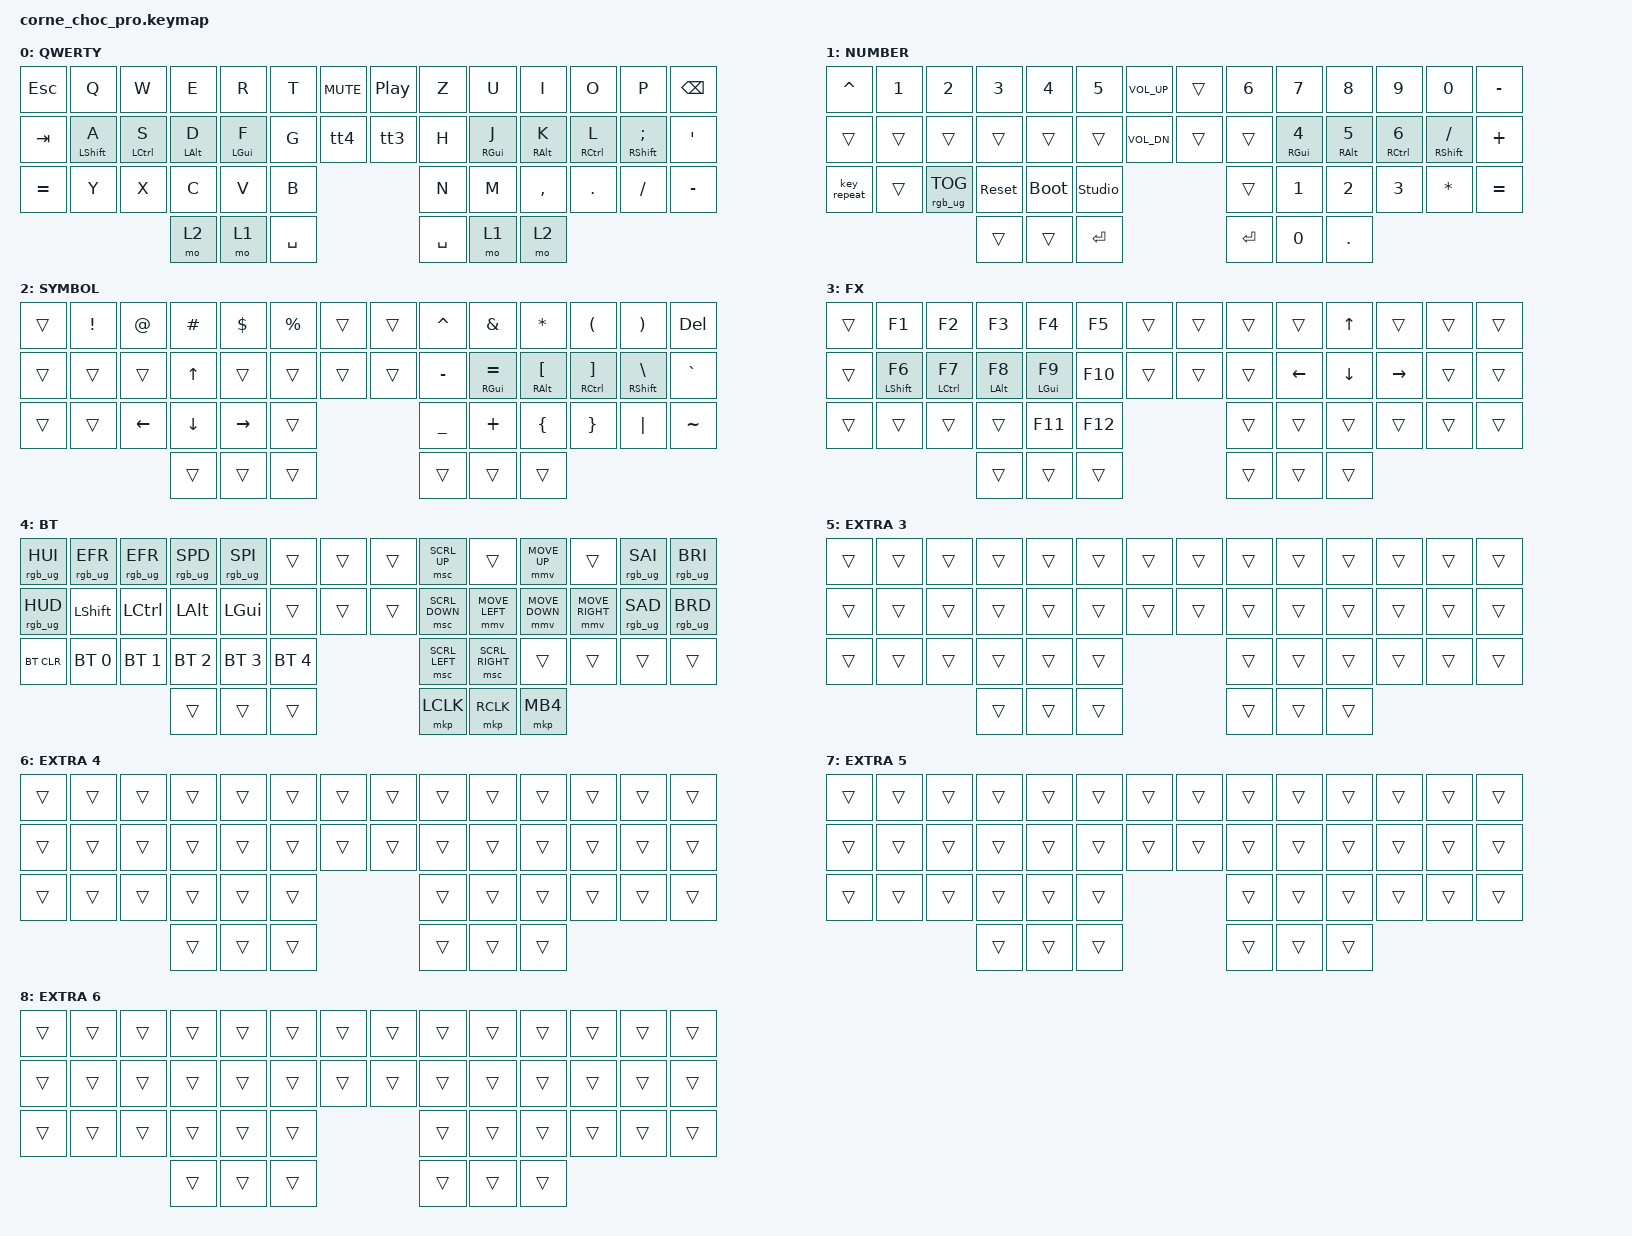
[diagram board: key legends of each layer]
/*
 * Copyright (c) 2020 The ZMK Contributors
 *
 * SPDX-License-Identifier: MIT
 */

#include <behaviors.dtsi>
#include <dt-bindings/zmk/bt.h>
#include <dt-bindings/zmk/keys.h>
#include <dt-bindings/zmk/pointing.h>
#include <dt-bindings/zmk/rgb.h>

/ {
    chosen { zmk,physical-layout = &default_layout; };
};

/ {
    macros {
        mae: mae {
            compatible = "zmk,behavior-macro";
            #binding-cells = <0>;
            bindings = <&kp LS(SINGLE_QUOTE) &kp A>;
            label = "MAE";
        };

        moe: moe {
            compatible = "zmk,behavior-macro";
            #binding-cells = <0>;
            bindings = <&kp LS(SINGLE_QUOTE) &kp O>;
            label = "MOE";
        };

        mue: mue {
            compatible = "zmk,behavior-macro";
            #binding-cells = <0>;
            bindings = <&kp LS(SINGLE_QUOTE) &kp U>;
            label = "MUE";
        };

        mae_s: mae_s {
            compatible = "zmk,behavior-macro";
            #binding-cells = <0>;
            bindings = <&kp LS(SINGLE_QUOTE) &kp LS(A)>;
            label = "MAES";
        };

        mue_s: mue_s {
            compatible = "zmk,behavior-macro";
            #binding-cells = <0>;
            bindings = <&kp LS(SINGLE_QUOTE) &kp LS(U)>;
            label = "MUES";
        };

        moe_s: moe_s {
            compatible = "zmk,behavior-macro";
            #binding-cells = <0>;
            bindings = <&kp LS(SINGLE_QUOTE) &kp LS(O)>;
            label = "MOES";
        };

        mflorian: florian {
            compatible = "zmk,behavior-macro";
            #binding-cells = <0>;
            bindings = <&kp LS(F) &kp L &kp O &kp R &kp I &kp A &kp N>;
            label = "FLORIAN";
        };

        mmfg: mfg {
            compatible = "zmk,behavior-macro";
            #binding-cells = <0>;
            bindings = <&kp LS(M) &kp I &kp T &kp SPACE &kp F &kp R &kp E &kp U &kp N &kp D &kp L &kp I &kp C &kp H &kp E &kp N &kp SPACE &kp LS(G) &kp R &kp DOUBLE_QUOTES &kp U &kp RA(S) &kp E &kp N &kp RET &kp SPACE &kp SPACE &kp SPACE &kp LS(F) &kp L &kp O &kp R &kp I &kp A &kp N &kp SPACE &kp LS(L) &kp I &kp M &kp B &kp U &kp R &kp G>;
            label = "MFG";
        };

        mlimburg: limburg {
            compatible = "zmk,behavior-macro";
            #binding-cells = <0>;
            bindings = <&kp LS(L) &kp I &kp M &kp B &kp U &kp R &kp G>;
            label = "LIMBURG";
        };
    };

    behaviors {
        mtl: mtl {
            compatible = "zmk,behavior-hold-tap";
            label = "MTL";
            bindings = <&kp>, <&kp>;

            #binding-cells = <2>;
            hold-trigger-key-positions = <0 1 2 3 4 5 19 18 17 16 15 14 28 29 30 31 32 33 42>;
            hold-trigger-on-release;
            require-prior-idle-ms = <150>;
            tapping-term-ms = <280>;
            quick-tap-ms = <175>;
            flavor = "balanced";
        };

        mtr: mtr {
            compatible = "zmk,behavior-hold-tap";
            label = "MTR";
            bindings = <&kp>, <&kp>;

            #binding-cells = <2>;
            hold-trigger-on-release;
            require-prior-idle-ms = <150>;
            tapping-term-ms = <280>;
            hold-trigger-key-positions = <9 8 10 11 12 13 27 39 38 37 36 35 34 22 23 24 25 26 43>;
            flavor = "balanced";
            quick-tap-ms = <175>;
        };

        tt4: tt4 {
            compatible = "zmk,behavior-tap-dance";
            label = "TT4";
            #binding-cells = <0>;
            bindings = <&mo 4>, <&tog 4>;

            tapping-term-ms = <150>;
        };

        tt3: tt3 {
            compatible = "zmk,behavior-tap-dance";
            label = "TT3";
            #binding-cells = <0>;
            bindings = <&mo 3>, <&tog 3>;
        };

        tt2: tt2 {
            compatible = "zmk,behavior-tap-dance";
            label = "TT2";
            #binding-cells = <0>;
            bindings = <&mo 2>, <&tog 2>;

            tapping-term-ms = <100>;
        };

        tt1: tt1 {
            compatible = "zmk,behavior-tap-dance";
            label = "TT1";
            #binding-cells = <0>;
            bindings = <&mo 1>, <&tog 1>;

            tapping-term-ms = <100>;
        };
    };

    combos {
        compatible = "zmk,combos";

        cae {
            bindings = <&mae>;
            key-positions = <15 3>;
        };

        cue_s {
            bindings = <&mue_s>;
            key-positions = <3 9 26>;
        };

        cae_s {
            bindings = <&mae_s>;
            key-positions = <15 3 26>;
        };

        cue {
            bindings = <&mue>;
            key-positions = <3 9>;
        };

        coe {
            bindings = <&moe>;
            key-positions = <3 11>;
        };

        coe_s {
            bindings = <&moe_s>;
            key-positions = <3 26 11>;
        };

        space2enter {
            bindings = <&kp ENTER>;
            key-positions = <42 43>;
        };

        cmfg {
            bindings = <&mmfg>;
            key-positions = <18 19 35>;
        };

        cflorian {
            bindings = <&mflorian>;
            key-positions = <18 44 45>;
        };

        climburg {
            bindings = <&mlimburg>;
            key-positions = <25 40 41>;
        };
    };

    keymap {
        compatible = "zmk,keymap";

        default_layer {
            display-name = "QWERTY";

            // --------------------------------------------------------------------------------
            // |  TAB |  Q  |  W  |  E  |  R  |  T  |  MUTE |  PP   |  Y  |  U   |  I  |  O  |  P  | BSPC |
            // | CTRL |  A  |  S  |  D  |  F  |  G  |  LALT |  RALT |  H  |  J   |  K  |  L  |  ;  |  '   |
            // | SHFT |  Z  |  X  |  C  |  V  |  B  |               |  N  |  M   |  ,  |  .  |  /  | ESC  |
            //                    | GUI | LWR | SPC |               | ENT | RSE  | ALT |

            bindings = <
&kp ESC    &kp Q              &kp W                &kp E            &kp R            &kp T      &kp C_MUTE  &kp C_PLAY_PAUSE  &kp Z      &kp U             &kp I             &kp O                 &kp P             &kp BSPC
&kp TAB    &mtl LEFT_SHIFT A  &mtl LEFT_CONTROL S  &mtl LEFT_ALT D  &mtl LEFT_GUI F  &kp G      &tt4        &tt3              &kp H      &mtr RIGHT_GUI J  &mtr RIGHT_ALT K  &mtr RIGHT_CONTROL L  &mtr RSHIFT SEMI  &kp SQT
&kp EQUAL  &kp Y              &kp X                &kp C            &kp V            &kp B                                    &kp N      &kp M             &kp COMMA         &kp DOT               &kp FSLH          &kp MINUS
                                                   &mo 2            &mo 1            &kp SPACE                                &kp SPACE  &mo 1             &mo 2
            >;
        };

        lower_layer {
            display-name = "NUMBER";

            // -----------------------------------------------------------------------------------------
            // |  TAB |  1  |  2  |  3  |  4  |  5    |  LCTRL | RCTRL |  6  |  7  |  8  |  9  |  0  | BSPC |
            // | CTRL | BT1 | BT2 | BT3 | BT4 | BT5   |  LALT  | RALT  | LFT | DWN |  UP | RGT |     |      |
            // | SHFT | BTCR| RGB | RST | BOOT| Unlock|        |       |     |     |     |     |     |      |
            //                    | GUI |     | SPC   |        | ENT   |     | ALT |

            bindings = <
&kp CARET    &kp N1  &kp N2           &kp N3      &kp N4       &kp N5          &kp C_VOLUME_UP  &trans  &kp N6     &kp N7                   &kp N8             &kp N9                       &kp N0             &kp MINUS
&trans       &trans  &trans           &trans      &trans       &trans          &kp C_VOL_DN     &trans  &trans     &mtr RIGHT_GUI NUMBER_4  &mtr RIGHT_ALT N5  &mtr RIGHT_CONTROL NUMBER_6  &mtr RSHIFT SLASH  &kp PLUS
&key_repeat  &trans  &rgb_ug RGB_TOG  &sys_reset  &bootloader  &studio_unlock                           &trans     &kp NUMBER_1             &kp NUMBER_2       &kp NUMBER_3                 &kp STAR           &kp EQUAL
                                      &trans      &trans       &kp ENTER                                &kp ENTER  &kp NUMBER_0             &kp DOT
            >;
        };

        raise_layer {
            display-name = "SYMBOL";

            // -----------------------------------------------------------------------------------------
            // |  TAB |  !  |  @  |  #  |  $  |  %  | LCTRL | RCTRL |  ^  |  &  |  *  |  (  |  )  | BSPC |
            // | CTRL |     |     |     |     |     |  LALT | RALT  |  -  |  =  |  [  |  ]  |  \  |  `   |
            // | SHFT |     |     |     |     |     |               |  _  |  +  |  {  |  }  | "|" |  ~   |
            //                    | GUI |     | SPC |               | ENT |     | ALT |

            bindings = <
&trans  &kp EXCL  &kp AT    &kp HASH        &kp DLLR         &kp PRCNT  &trans  &trans  &kp CARET  &kp AMPS              &kp ASTRK            &kp LPAR                 &kp RPAR               &kp DELETE
&trans  &trans    &trans    &kp UP_ARROW    &trans           &trans     &trans  &trans  &kp MINUS  &mtr RIGHT_GUI EQUAL  &mtr RIGHT_ALT LBKT  &mtr RIGHT_CONTROL RBKT  &mtr RIGHT_SHIFT BSLH  &kp GRAVE
&trans  &trans    &kp LEFT  &kp DOWN_ARROW  &kp RIGHT_ARROW  &trans                     &kp UNDER  &kp PLUS              &kp LBRC             &kp RBRC                 &kp PIPE               &kp TILDE
                            &trans          &trans           &trans                     &trans     &trans                &trans
            >;
        };

        extra_layer_1 {
            display-name = "FX";
            bindings = <
&trans  &kp F1             &kp F2               &kp F3           &kp F4           &kp F5   &trans  &trans  &trans  &trans    &kp UP_ARROW    &trans     &trans  &trans
&trans  &mt LEFT_SHIFT F6  &mt LEFT_CONTROL F7  &mt LEFT_ALT F8  &mt LEFT_GUI F9  &kp F10  &trans  &trans  &trans  &kp LEFT  &kp DOWN_ARROW  &kp RIGHT  &trans  &trans
&trans  &trans             &trans               &trans           &kp F11          &kp F12                  &trans  &trans    &trans          &trans     &trans  &trans
                                                &trans           &trans           &trans                   &trans  &trans    &trans
            >;
        };

        extra_layer_2 {
            display-name = "BT";
            bindings = <
&rgb_ug RGB_HUI  &rgb_ug RGB_EFR  &rgb_ug RGB_EFR   &rgb_ug RGB_SPD  &rgb_ug RGB_SPI  &trans        &trans  &trans  &msc SCRL_UP    &trans           &mmv MOVE_UP    &trans           &rgb_ug RGB_SAI  &rgb_ug RGB_BRI
&rgb_ug RGB_HUD  &kp LEFT_SHIFT   &kp LEFT_CONTROL  &kp LEFT_ALT     &kp LEFT_GUI     &trans        &trans  &trans  &msc SCRL_DOWN  &mmv MOVE_LEFT   &mmv MOVE_DOWN  &mmv MOVE_RIGHT  &rgb_ug RGB_SAD  &rgb_ug RGB_BRD
&bt BT_CLR       &bt BT_SEL 0     &bt BT_SEL 1      &bt BT_SEL 2     &bt BT_SEL 3     &bt BT_SEL 4                  &msc SCRL_LEFT  &msc SCRL_RIGHT  &trans          &trans           &trans           &trans
                                                    &trans           &trans           &trans                        &mkp LCLK       &mkp RCLK        &mkp MB4
            >;
        };

        extra_layer_3 {
            display-name = "EXTRA 3";
            bindings = <
&trans  &trans  &trans  &trans  &trans  &trans  &trans  &trans  &trans  &trans  &trans  &trans  &trans  &trans
&trans  &trans  &trans  &trans  &trans  &trans  &trans  &trans  &trans  &trans  &trans  &trans  &trans  &trans
&trans  &trans  &trans  &trans  &trans  &trans                  &trans  &trans  &trans  &trans  &trans  &trans
                        &trans  &trans  &trans                  &trans  &trans  &trans
            >;
        };

        extra_layer_4 {
            display-name = "EXTRA 4";
            bindings = <
&trans  &trans  &trans  &trans  &trans  &trans  &trans  &trans  &trans  &trans  &trans  &trans  &trans  &trans
&trans  &trans  &trans  &trans  &trans  &trans  &trans  &trans  &trans  &trans  &trans  &trans  &trans  &trans
&trans  &trans  &trans  &trans  &trans  &trans                  &trans  &trans  &trans  &trans  &trans  &trans
                        &trans  &trans  &trans                  &trans  &trans  &trans
            >;
        };

        extra_layer_5 {
            display-name = "EXTRA 5";
            bindings = <
&trans  &trans  &trans  &trans  &trans  &trans  &trans  &trans  &trans  &trans  &trans  &trans  &trans  &trans
&trans  &trans  &trans  &trans  &trans  &trans  &trans  &trans  &trans  &trans  &trans  &trans  &trans  &trans
&trans  &trans  &trans  &trans  &trans  &trans                  &trans  &trans  &trans  &trans  &trans  &trans
                        &trans  &trans  &trans                  &trans  &trans  &trans
            >;
        };

        extra_layer_6 {
            display-name = "EXTRA 6";
            bindings = <
&trans  &trans  &trans  &trans  &trans  &trans  &trans  &trans  &trans  &trans  &trans  &trans  &trans  &trans
&trans  &trans  &trans  &trans  &trans  &trans  &trans  &trans  &trans  &trans  &trans  &trans  &trans  &trans
&trans  &trans  &trans  &trans  &trans  &trans                  &trans  &trans  &trans  &trans  &trans  &trans
                        &trans  &trans  &trans                  &trans  &trans  &trans
            >;
        };
    };
};
